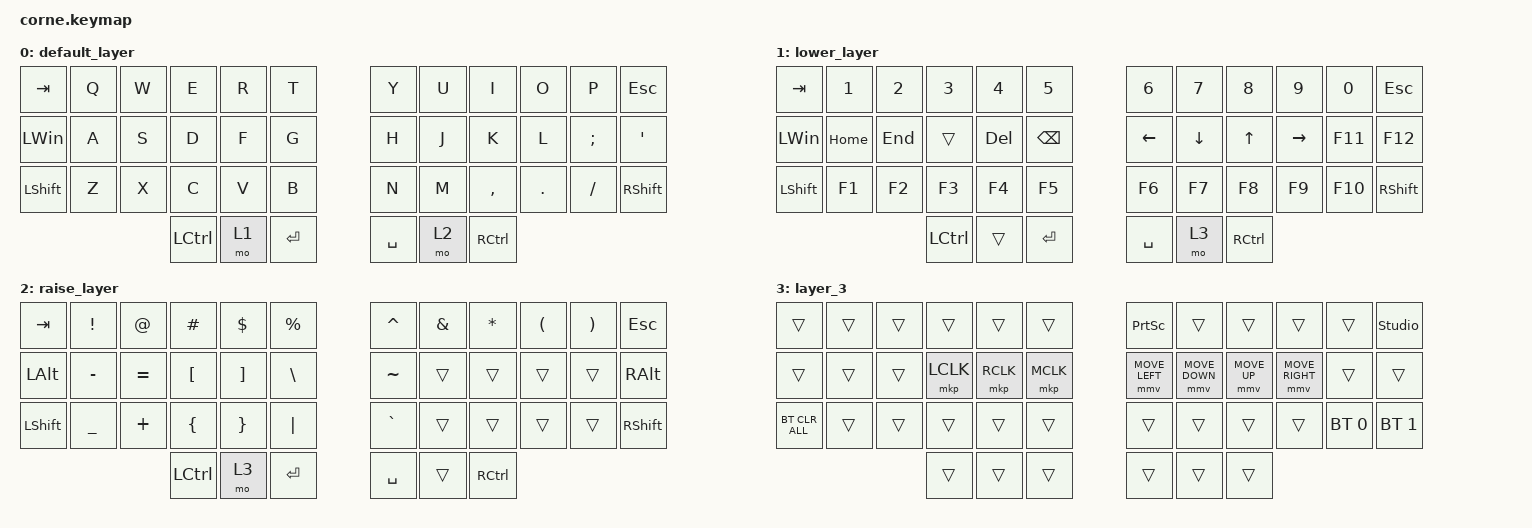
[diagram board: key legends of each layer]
/*
 * Copyright (c) 2020 The ZMK Contributors
 *
 * SPDX-License-Identifier: MIT
 */

#include <behaviors.dtsi>
#include <dt-bindings/zmk/bt.h>
#include <dt-bindings/zmk/keys.h>
#include <dt-bindings/zmk/pointing.h>

/ {
    keymap {
        compatible = "zmk,keymap";

        default_layer {
            // -----------------------------------------------------------------------------------------
            // |  TAB |  Q  |  W  |  E  |  R  |  T  |   |  Y  |  U   |  I  |  O  |  P  | BKSP |
            // | CTRL |  A  |  S  |  D  |  F  |  G  |   |  H  |  J   |  K  |  L  |  ;  |  '   |
            // | SHFT |  Z  |  X  |  C  |  V  |  B  |   |  N  |  M   |  ,  |  .  |  /  | ESC  |
            //                    | GUI | LWR | SPC |   | ENT | RSE  | ALT |

            bindings = <
&kp TAB       &kp Q  &kp W  &kp E      &kp R  &kp T        &kp Y      &kp U  &kp I      &kp O    &kp P     &kp ESCAPE
&kp LEFT_WIN  &kp A  &kp S  &kp D      &kp F  &kp G        &kp H      &kp J  &kp K      &kp L    &kp SEMI  &kp SQT
&kp LSHFT     &kp Z  &kp X  &kp C      &kp V  &kp B        &kp N      &kp M  &kp COMMA  &kp DOT  &kp FSLH  &kp RIGHT_SHIFT
                            &kp LCTRL  &mo 1  &kp ENTER    &kp SPACE  &mo 2  &kp RCTRL
            >;
        };

        lower_layer {
            // -----------------------------------------------------------------------------------------
            // |  TAB |  1  |  2  |  3  |  4  |  5  |   |  6  |  7  |  8  |  9  |  0  | BKSP |
            // | BTCLR| BT1 | BT2 | BT3 | BT4 | BT5 |   | LFT | DWN |  UP | RGT |     |      |
            // | SHFT |     |     |     |     |     |   |     |     |     |     |     |      |
            //                    | GUI |     | SPC |   | ENT |     | ALT |

            bindings = <
&kp TAB         &kp N1    &kp N2   &kp N3     &kp N4      &kp N5           &kp N6          &kp N7          &kp N8        &kp N9           &kp N0   &kp ESCAPE
&kp LEFT_WIN    &kp HOME  &kp END  &trans     &kp DELETE  &kp BACKSPACE    &kp LEFT_ARROW  &kp DOWN_ARROW  &kp UP_ARROW  &kp RIGHT_ARROW  &kp F11  &kp F12
&kp LEFT_SHIFT  &kp F1    &kp F2   &kp F3     &kp F4      &kp F5           &kp F6          &kp F7          &kp F8        &kp F9           &kp F10  &kp RIGHT_SHIFT
                                   &kp LCTRL  &trans      &kp ENTER        &kp SPACE       &mo 3           &kp RCTRL
            >;
        };

        raise_layer {
            // -----------------------------------------------------------------------------------------
            // |  TAB |  !  |  @  |  #  |  $  |  %  |   |  ^  |  &  |  *  |  (  |  )  | BKSP |
            // | CTRL |     |     |     |     |     |   |  -  |  =  |  [  |  ]  |  \  |  `   |
            // | SHFT |     |     |     |     |     |   |  _  |  +  |  {  |  }  | "|" |  ~   |
            //                    | GUI |     | SPC |   | ENT |     | ALT |

            bindings = <
&kp TAB       &kp EXCL        &kp AT     &kp HASH          &kp DLLR           &kp PRCNT        &kp CARET  &kp AMPS  &kp ASTRK  &kp LPAR  &kp RPAR  &kp ESCAPE
&kp LEFT_ALT  &kp MINUS       &kp EQUAL  &kp LEFT_BRACKET  &kp RIGHT_BRACKET  &kp BACKSLASH    &kp TILDE  &trans    &trans     &trans    &trans    &kp RIGHT_ALT
&kp LSHFT     &kp UNDERSCORE  &kp PLUS   &kp LEFT_BRACE    &kp RIGHT_BRACE    &kp PIPE         &kp GRAVE  &trans    &trans     &trans    &trans    &kp RIGHT_SHIFT
                                         &kp LCTRL         &mo 3              &kp ENTER        &kp SPACE  &trans    &kp RCTRL
            >;
        };

        layer_3 {
            bindings = <
&trans          &trans  &trans  &trans     &trans     &trans       &kp PRINTSCREEN  &trans          &trans        &trans           &trans        &studio_unlock
&trans          &trans  &trans  &mkp LCLK  &mkp RCLK  &mkp MCLK    &mmv MOVE_LEFT   &mmv MOVE_DOWN  &mmv MOVE_UP  &mmv MOVE_RIGHT  &trans        &trans
&bt BT_CLR_ALL  &trans  &trans  &trans     &trans     &trans       &trans           &trans          &trans        &trans           &bt BT_SEL 0  &bt BT_SEL 1
                                &trans     &trans     &trans       &trans           &trans          &trans
            >;
        };
    };
};
